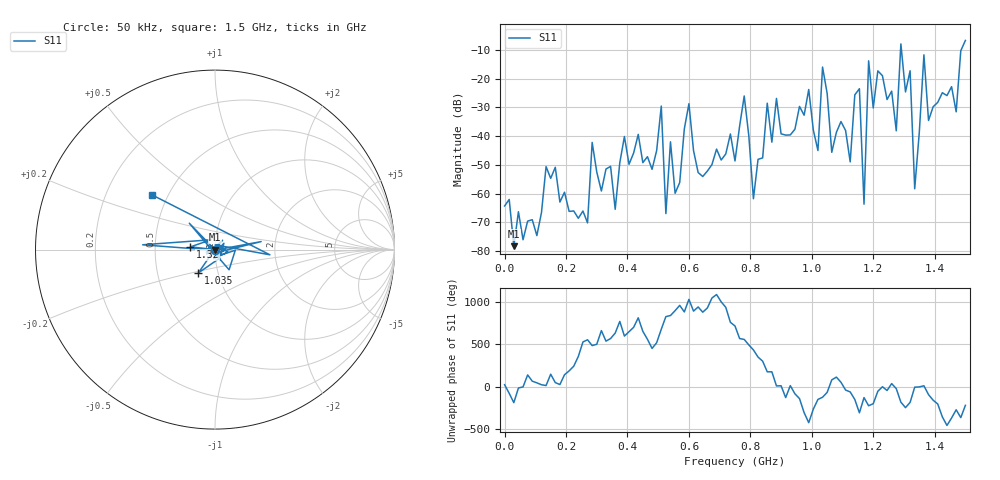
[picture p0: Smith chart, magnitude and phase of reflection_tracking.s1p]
! Created with skrf 1.8.0 (http://scikit-rf.org).
# Hz S RI R 50.0
!freq ReS11 ImS11
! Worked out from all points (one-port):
!   101 points, 50 kHz to 1.5 GHz, reference 50 ohm
!   lowest |S11| = -78.3 dB at 30.05 MHz (marker M1), VSWR 1.00, Z = 50 + j0.00203 ohm
!   |S11| at or under -10 dB: start of sweep to 1.289 GHz; 1.292 GHz to 1.486 GHz (194.1 MHz wide, 14 % of centre)
!   S11 on the Smith chart (normalised r, x): 50 kHz: 1.00, +0.00; 1.035 GHz: 0.80, -0.21; 1.32 GHz: 0.76, +0.02; 1.5 GHz: 0.41, +0.32
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50000  0.000567 0.000227
3.0049e7  -0.00012 2.03e-05
1.950435e8  -0.000805 0.000686
3.750375e8  0.00229 0.0026
5.10033e8  0.0242 -0.0231
5.250325e8  -0.00012 0.000433
5.40032e8  -0.00378 0.00704
5.70031e8  -0.000832 -0.00132
6.0003e8  0.023 -0.0288
7.50025e8  0.00369 -0.00032
7.80024e8  -0.0482 -0.0141
8.10023e8  0.000249 0.000778
8.550215e8  -0.0374 0.00368
9.450185e8  0.00123 -0.0131
1.020016e9  -0.00493 -0.00271
1.035016e9  -0.0928 -0.1301
1.125012e9  0.00163 -0.00318
1.155012e9  0.0423 0.0521
1.170011e9  -0.000417 -0.000506
1.18501e9  -0.1432 0.1469
1.275008e9  0.0113 -0.00507
1.290007e9  -0.403 0.0268
1.320006e9  -0.1368 0.0154
1.335006e9  0.00121 -0.000142
1.365004e9  0.257 0.0446
1.380004e9  -0.00155 -0.0187
1.470001e9  0.00147 0.0265
1.5e9  -0.3503 0.3045
